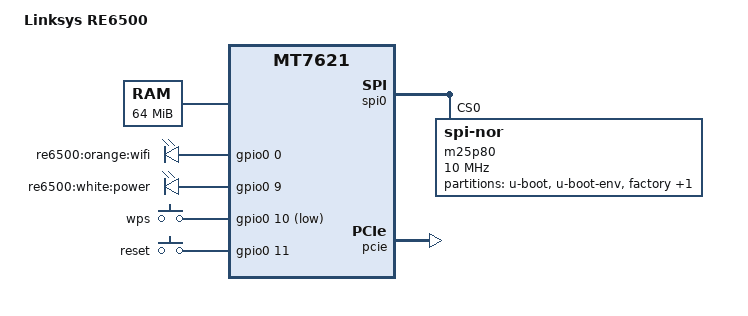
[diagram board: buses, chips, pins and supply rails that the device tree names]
/dts-v1/;

#include "mt7621.dtsi"

#include <dt-bindings/gpio/gpio.h>
#include <dt-bindings/input/input.h>

/ {
	compatible = "linksys,re6500", "mediatek,mt7621-soc";
	model = "Linksys RE6500";

	memory@0 {
		device_type = "memory";
		reg = <0x0 0x4000000>;
	};

	chosen {
		bootargs = "console=ttyS0,57600";
	};

	gpio-leds {
		compatible = "gpio-leds";

		wifi {
			label = "re6500:orange:wifi";
			gpios = <&gpio0 0 GPIO_ACTIVE_HIGH>;
		};

		power {
			label = "re6500:white:power";
			gpios = <&gpio0 9 GPIO_ACTIVE_HIGH>;
		};
	};

	gpio-keys-polled {
		compatible = "gpio-keys-polled";
		#address-cells = <1>;
		#size-cells = <0>;
		poll-interval = <20>;

		wps {
			label = "wps";
			gpios = <&gpio0 10 GPIO_ACTIVE_LOW>;
			linux,code = <KEY_WPS_BUTTON>;
		};

		reset {
			label = "reset";
			gpios = <&gpio0 11 GPIO_ACTIVE_HIGH>;
			linux,code = <KEY_RESTART>;
		};
	};
};

&spi0 {
	status = "okay";

	m25p80@0 {
		#address-cells = <1>;
		#size-cells = <1>;
		compatible = "jedec,spi-nor";
		reg = <0>;
		spi-max-frequency = <10000000>;
		m25p,chunked-io = <32>;

		partition@0 {
			label = "u-boot";
			reg = <0x0 0x30000>;
			read-only;
		};

		partition@30000 {
			label = "u-boot-env";
			reg = <0x30000 0x10000>;
			read-only;
		};

		factory: partition@40000 {
			label = "factory";
			reg = <0x40000 0x10000>;
			read-only;
		};

		partition@50000 {
			label = "firmware";
			reg = <0x50000 0x7b0000>;
		};
	};
};

&pinctrl {
	state_default: pinctrl0 {
		gpio {
			ralink,group = "i2c", "uart2", "uart3", "rgmii2";
			ralink,function = "gpio";
		};
	};
};

&pcie {
	status = "okay";

	pcie0 {
		mt76@0,0 {
			reg = <0x0000 0 0 0 0>;
			device_type = "pci";
			mediatek,mtd-eeprom = <&factory 0x0000>;
			ieee80211-freq-limit = <5000000 6000000>;
		};
	};

	pcie1 {
		mt76@1,0 {
			reg = <0x0000 0 0 0 0>;
			device_type = "pci";
			mediatek,mtd-eeprom = <&factory 0x8000>;
			ieee80211-freq-limit = <2400000 2500000>;
		};
	};
};

&ethernet {
	mtd-mac-address = <&factory 0x2e>;
};

&xhci {
	status = "disabled";
};
